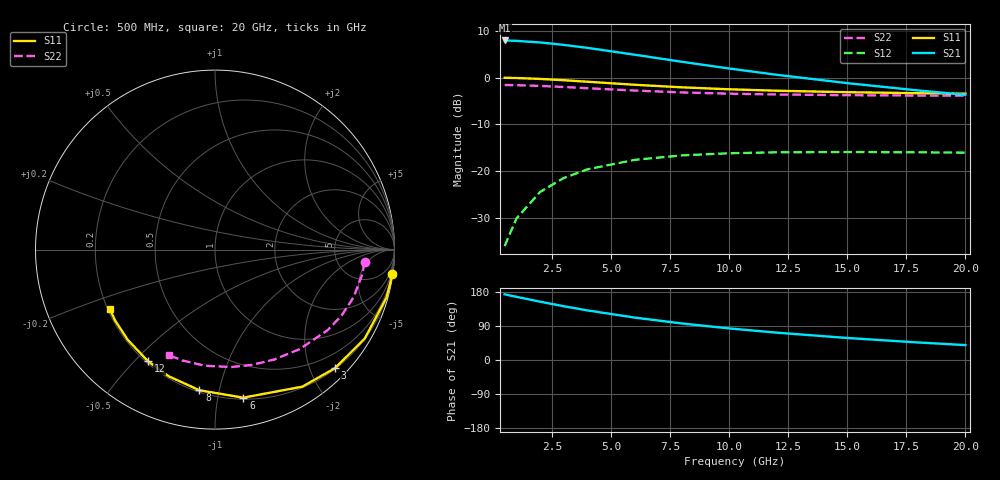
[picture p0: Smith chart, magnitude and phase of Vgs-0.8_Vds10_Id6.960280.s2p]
# Hz S RI R 50
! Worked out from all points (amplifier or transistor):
!   12 points, 500 MHz to 20 GHz, reference 50 ohm
!   highest |S21| = 8.0 dB at 500 MHz (marker M1)
!   |S21| within 3 dB of that: start of sweep to 5.93 GHz
!   unconditionally stable (mu >= 1): 15.25 GHz to end of sweep
!   at 2 GHz: K = 0.11, MSG = 16.0 dB, |S12| = -24.5 dB
!   at 8 GHz: K = 0.47, MSG = 10.0 dB, |S12| = -16.7 dB
!   at 20 GHz: K = 1.42, MAG = 2.3 dB, |S12| = -16.1 dB
!   S11 on the Smith chart (normalised r, x): 500 MHz: 0, -15; 3 GHz: 0.21, -2.42; 6 GHz: 0.21, -1.19; 8 GHz: 0.21, -0.87; 12 GHz: 0.21, -0.55; 20 GHz: 0.21, -0.25
5e8  0.9887 -0.1363  -2.49 0.2913  0.0015 0.0156  0.833 -0.0704
1e9  0.9555 -0.2671  -2.415 0.5701  0.00587 0.0304  0.8201 -0.1389
2e9  0.8348 -0.495  -2.143 1.049  0.0217 0.0555  0.7727 -0.2643
3e9  0.6682 -0.661  -1.77 1.386  0.0434 0.0721  0.7051 -0.3678
4e9  0.4867 -0.7635  -1.368 1.578  0.0665 0.0801  0.6277 -0.4487
6e9  0.1579 -0.825  -0.6607 1.636  0.1065 0.0774  0.4716 -0.5545
8e9  -0.0868 -0.7838  -0.1654 1.473  0.1333 0.0619  0.3295 -0.6126
1e10  -0.2562 -0.7065  0.1445 1.247  0.1488 0.0435  0.2038 -0.6427
1.2e10  -0.3732 -0.6219  0.328 1.025  0.1565 0.026  0.0913 -0.6543
1.5e10  -0.4867 -0.5021  0.4619 0.7423  0.1598 0.00386  -0.0568 -0.647
1.8e10  -0.5556 -0.3963  0.5048 0.5274  0.1581 -0.0132  -0.1823 -0.6175
2e10  -0.586 -0.3331  0.5077 0.4157  0.1557 -0.0223  -0.2544 -0.589
